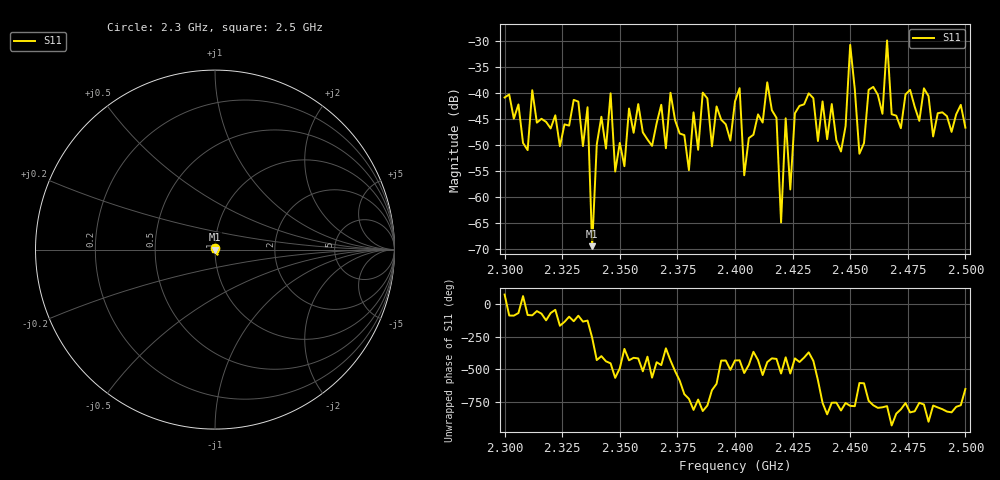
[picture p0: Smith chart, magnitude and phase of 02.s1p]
# HZ S RI R 50
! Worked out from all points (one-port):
!   101 points, 2.3 GHz to 2.5 GHz, reference 50 ohm
!   lowest |S11| = -69.5 dB at 2.338 GHz (marker M1), VSWR 1.00, Z = 50 + j0.0327 ohm
!   |S11| at or under -10 dB: start of sweep to end of sweep
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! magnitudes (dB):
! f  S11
! 2.3 GHz  -40.9
! 2.31 GHz  -51.0
! 2.312 GHz  -39.5
! 2.326 GHz  -46.0
! 2.336 GHz  -42.7
! 2.338 GHz  -69.5
! 2.342 GHz  -44.6
! 2.35 GHz  -49.6
! 2.372 GHz  -39.9
! 2.376 GHz  -47.8
! 2.4 GHz  -41.6
! 2.402 GHz  -39.1
! 2.404 GHz  -55.8
! 2.414 GHz  -37.9
! 2.418 GHz  -44.8
! 2.42 GHz  -64.9
! 2.422 GHz  -44.9
! 2.424 GHz  -58.6
! 2.426 GHz  -43.9
! 2.446 GHz  -51.3
! 2.45 GHz  -30.7
! 2.454 GHz  -51.7
! 2.458 GHz  -39.4
! 2.464 GHz  -44.0
! 2.466 GHz  -29.9
! 2.468 GHz  -44.1
! 2.476 GHz  -39.4
! 2.5 GHz  -46.7
